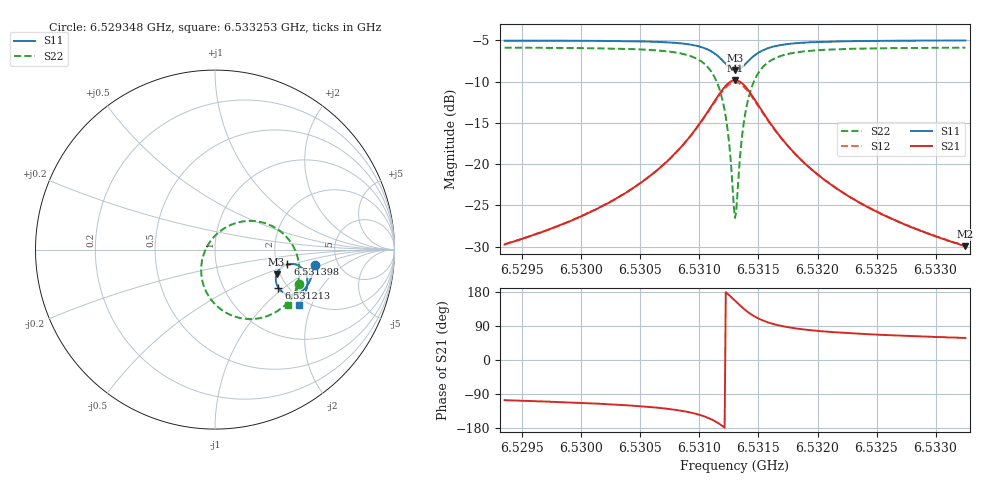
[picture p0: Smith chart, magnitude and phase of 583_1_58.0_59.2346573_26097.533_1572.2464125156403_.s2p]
#  HZ  S  RI  R  50.00
! Rohde & Schwarz Vector Network Analyzer
! Rohde-Schwarz,ZNB20-2Port,1311601062101988,3.16
! Created: UTC 3/21/2024, 1:16:23 AM
! freq[Hz]  re:S11  im:S11  re:S21  im:S21  re:S12  im:S12  re:S22  im:S22
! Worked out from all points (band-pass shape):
!   401 points, 6.529348 GHz to 6.533253 GHz, reference 50 ohm
!   highest |S21| = -9.82 dB at 6.531301 GHz (marker M1); lowest = -29.9 dB at 6.533253 GHz (marker M2)
!   |S21| within 3 dB of the highest: 6.531107 GHz to 6.531497 GHz (390 kHz wide, 0.00597 % of centre)
!   lowest |S11| = -8.6 dB at 6.531301 GHz (marker M3), VSWR 2.17, Z = 95.7 - j30.8 ohm
!   |S11| at or under -10 dB: nowhere
!   |S22| runs from -26.5 to -5.9 dB; largest |S21 - S12| = 0.013
!   S11 on the Smith chart (normalised r, x): 6.529348 GHz: 3.34, -0.81; 6.531213 GHz: 1.79, -0.92; 6.531398 GHz: 2.29, -0.45; 6.533253 GHz: 1.82, -1.64
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6.5293485e9  0.5544 -0.0835  -0.00889 -0.0314  -0.00963 -0.0312  0.4697 -0.1943
6.5300025e9  0.5421 -0.1383  -0.0192 -0.0445  -0.0203 -0.0442  0.4364 -0.2551
6.5303344e9  0.5309 -0.1693  -0.0308 -0.0566  -0.0323 -0.0558  0.4056 -0.2938
6.5306566e9  0.5113 -0.2045  -0.0557 -0.0757  -0.0578 -0.0741  0.3494 -0.3413
6.5308811e9  0.4826 -0.2335  -0.0979 -0.0949  -0.1006 -0.0914  0.2647 -0.3785
6.5310471e9  0.4363 -0.2512  -0.1694 -0.0995  -0.1714 -0.0924  0.1335 -0.3796
6.5311447e9  0.3894 -0.2437  -0.2415 -0.0697  -0.2402 -0.0595  0.0137 -0.317
6.531213e9  0.3537 -0.2133  -0.2935 -0.00693  -0.2867 0.00345  -0.0624 -0.2024
6.5312423e9  0.343 -0.1915  -0.3069 0.0342  -0.2973 0.0429  -0.0767 -0.1325
6.5312813e9  0.3393 -0.1566  -0.3062 0.0969  -0.2945 0.1019  -0.0643 -0.0301
6.5313009e9  0.3429 -0.1387  -0.2966 0.128  -0.2843 0.1312  -0.043 0.0193
6.5313106e9  0.3464 -0.1302  -0.2893 0.143  -0.2773 0.1449  -0.0288 0.0422
6.5313204e9  0.3504 -0.1221  -0.2807 0.1569  -0.2689 0.1578  -0.0124 0.0633
6.5313594e9  0.3741 -0.0959  -0.2358 0.2012  -0.226 0.199  0.0685 0.1284
6.5313985e9  0.4032 -0.0822  -0.1836 0.2243  -0.1766 0.2204  0.158 0.1573
6.5314668e9  0.4489 -0.0828  -0.1042 0.2242  -0.1007 0.2205  0.2907 0.143
6.5315644e9  0.488 -0.1067  -0.0368 0.1894  -0.0353 0.1874  0.399 0.0698
6.5317109e9  0.5104 -0.1445  0.00295 0.1391  0.00401 0.1383  0.4569 -0.0309
6.5319549e9  0.5152 -0.1887  0.0188 0.0903  0.0201 0.09  0.4697 -0.1318
6.5322575e9  0.5083 -0.2258  0.0209 0.0609  0.0219 0.0605  0.4579 -0.2001
6.532609e9  0.4964 -0.2586  0.0197 0.0431  0.0204 0.0429  0.4393 -0.2487
6.5332533e9  0.4706 -0.3075  0.0168 0.0271  0.0173 0.0268  0.4046 -0.3072
